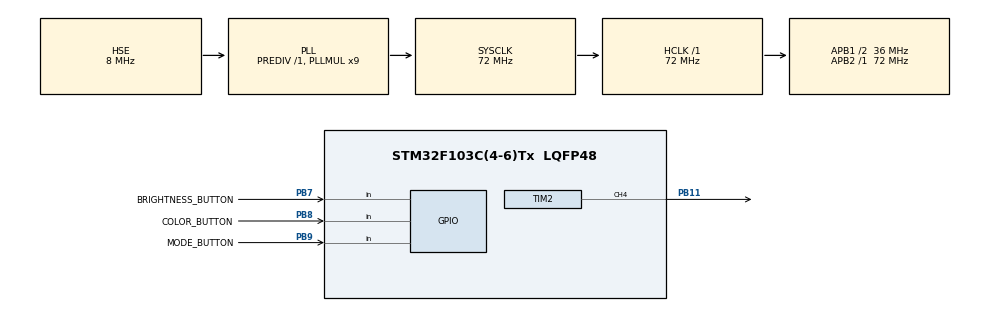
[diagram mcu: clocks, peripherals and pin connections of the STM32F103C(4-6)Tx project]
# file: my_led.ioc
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Dma.Request0=TIM2_CH2/CH4
Dma.TIM2_CH2/CH4.0.Direction=DMA_MEMORY_TO_PERIPH
Dma.TIM2_CH2/CH4.0.Instance=DMA1_Channel7
Dma.TIM2_CH2/CH4.0.MemDataAlignment=DMA_MDATAALIGN_WORD
Dma.TIM2_CH2/CH4.0.MemInc=DMA_MINC_ENABLE
Dma.TIM2_CH2/CH4.0.Mode=DMA_CIRCULAR
Dma.TIM2_CH2/CH4.0.PeriphDataAlignment=DMA_PDATAALIGN_WORD
Dma.TIM2_CH2/CH4.0.PeriphInc=DMA_PINC_DISABLE
Dma.TIM2_CH2/CH4.0.Priority=DMA_PRIORITY_HIGH
Mcu.Family=STM32F1
Mcu.Name=STM32F103C(4-6)Tx
Mcu.Package=LQFP48
NVIC.DMA1_Channel7_IRQn=true\:0\:0\:false\:false\:true\:false\:true\:true
NVIC.PriorityGroup=NVIC_PRIORITYGROUP_4
PA13.Mode=Trace_Asynchronous_SW
PA13.Signal=SYS_JTMS-SWDIO
PA14.Mode=Trace_Asynchronous_SW
PA14.Signal=SYS_JTCK-SWCLK
PB11.GPIO_ModeDefaultPP=GPIO_MODE_AF_OD
PB11.GPIO_Speed=GPIO_SPEED_FREQ_HIGH
PB11.Signal=S_TIM2_CH4
PB3.Mode=Trace_Asynchronous_SW
PB3.Signal=SYS_JTDO-TRACESWO
PB7.GPIO_Label=BRIGHTNESS_BUTTON
PB7.GPIO_PuPd=GPIO_PULLDOWN
PB7.Signal=GPIO_Input
PB8.GPIO_Label=COLOR_BUTTON
PB8.GPIO_PuPd=GPIO_PULLDOWN
PB8.Signal=GPIO_Input
PB9.GPIO_Label=MODE_BUTTON
PB9.GPIO_PuPd=GPIO_PULLDOWN
PB9.Signal=GPIO_Input
PD0-OSC_IN.Mode=HSE-External-Oscillator
PD0-OSC_IN.Signal=RCC_OSC_IN
PD1-OSC_OUT.Mode=HSE-External-Oscillator
PD1-OSC_OUT.Signal=RCC_OSC_OUT
ProjectManager.HeapSize=0x200
ProjectManager.StackSize=0x400
ProjectManager.TargetToolchain=STM32CubeIDE
RCC.AHBFreq_Value=72000000
RCC.APB1CLKDivider=RCC_HCLK_DIV2
RCC.APB1Freq_Value=36000000
RCC.APB1TimFreq_Value=72000000
RCC.APB2Freq_Value=72000000
RCC.APB2TimFreq_Value=72000000
RCC.HCLKFreq_Value=72000000
RCC.PLLMUL=RCC_PLL_MUL9
RCC.PLLSourceVirtual=RCC_PLLSOURCE_HSE
RCC.SYSCLKFreq_VALUE=72000000
RCC.SYSCLKSource=RCC_SYSCLKSOURCE_PLLCLK
RCC.USBFreq_Value=72000000
SH.S_TIM2_CH4.0=TIM2_CH4,PWM Generation4 CH4
TIM2.Channel-PWM\ Generation4\ CH4=TIM_CHANNEL_4
board=custom

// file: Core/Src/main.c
/* USER CODE BEGIN Header */
/**
  ******************************************************************************
  * @file           : main.c
  * @brief          : Main program body
  ******************************************************************************
  * @attention
  *
  * Copyright (c) 2025 STMicroelectronics.
  * All rights reserved.
  *
  * This software is licensed under terms that can be found in the LICENSE file
  * in the root directory of this software component.
  * If no LICENSE file comes with this software, it is provided AS-IS.
  *
  ******************************************************************************
  */
/* USER CODE END Header */
#include "main.h"

/* USER CODE BEGIN Includes */
#include "ARGB.h"
/* USER CODE END Includes */

TIM_HandleTypeDef htim2;
DMA_HandleTypeDef hdma_tim2_ch2_ch4;

void SystemClock_Config(void);
static void MX_GPIO_Init(void);
static void MX_DMA_Init(void);
static void MX_TIM2_Init(void);

int main(void)
{

  /* MCU Configuration--------------------------------------------------------*/

  /* Reset of all peripherals, Initializes the Flash interface and the Systick. */
  HAL_Init();

  /* Configure the system clock */
  SystemClock_Config();

  /* Initialize all configured peripherals */
  MX_GPIO_Init();
  MX_DMA_Init();
  MX_TIM2_Init();
  /* USER CODE BEGIN 2 */
  ARGB_Init();  // Initialization
  ARGB_Clear(); // Clear stirp
  while (!ARGB_Show());

  int button_curent_state = 0;
  int button_color_state =0;
  int button_brightness_state =0;

  ARGB_MODE current_MODE = STATIC;
  int color_R = 255;
  int color_G = 255;
  int color_B = 255;
  int brightness = 100;
  int brightness_direction = 1;
  int brightness_step =2;

  ARGB_SetBrightness(brightness);  // Set global brightness to 40%

  /* USER CODE END 2 */

  /* Infinite loop */
  while (1)
  {

    /* USER CODE BEGIN 3 */
	button_curent_state=HAL_GPIO_ReadPin(MODE_BUTTON_GPIO_Port, MODE_BUTTON_Pin);
	button_color_state=HAL_GPIO_ReadPin(COLOR_BUTTON_GPIO_Port, COLOR_BUTTON_Pin);
	button_brightness_state=HAL_GPIO_ReadPin(BRIGHTNESS_BUTTON_GPIO_Port, BRIGHTNESS_BUTTON_Pin);

	if (button_curent_state){
		if (current_MODE < ITERATION) {
		    current_MODE++;
		}
		else{
			current_MODE=0;
		}
		HAL_Delay(300);
	}else if (button_color_state){
		ARGB_Clear();
		while (!ARGB_Show());
		calculateRainbowColor(&color_R, &color_G, &color_B);
		ARGB_FillRGB(color_R, color_G, color_B);
		while (!ARGB_Show());
	}else if (button_brightness_state){
		ARGB_Clear();
		while (!ARGB_Show());
        brightness += brightness_step * brightness_direction;

        if (brightness >= 100) {
            brightness = 100;
            brightness_direction = -1;
        } else if (brightness <= 0) {
            brightness = 0;
            brightness_direction = 1;
        }
		ARGB_SetBrightness(brightness);
		ARGB_FillRGB(color_R, color_G, color_B);
		while (!ARGB_Show());
	}else{

		switch(current_MODE){
		case STATIC:
			ARGB_Clear();
			while (!ARGB_Show());
			ARGB_FillRGB(color_R, color_G, color_B);
			while (!ARGB_Show());
			break;
		case RAINBOW:
			ARGB_Clear();
			while (!ARGB_Show());
			calculateRainbowColor(&color_R, &color_G, &color_B);
			ARGB_FillRGB(color_R, color_G, color_B);
			while (!ARGB_Show());
			break;
		case SLOW_BLINK:
			ARGB_Clear();
			while (!ARGB_Show());
            brightness += brightness_step * brightness_direction;

            if (brightness >= 100) {
                brightness = 100;
                brightness_direction = -1;
            } else if (brightness <= 0) {
                brightness = 0;
                brightness_direction = 1;
            }
			ARGB_SetBrightness(brightness);
			ARGB_FillRGB(color_R, color_G, color_B);
			while (!ARGB_Show());
			break;
		case ITERATION:
			for (uint8_t i = 0; i < NUM_PIXELS; i++){
				button_curent_state=HAL_GPIO_ReadPin(MODE_BUTTON_GPIO_Port, MODE_BUTTON_Pin);
				button_color_state=HAL_GPIO_ReadPin(COLOR_BUTTON_GPIO_Port, COLOR_BUTTON_Pin);
				button_brightness_state=HAL_GPIO_ReadPin(BRIGHTNESS_BUTTON_GPIO_Port, BRIGHTNESS_BUTTON_Pin);
				if (button_curent_state || button_color_state || button_brightness_state){
					break;
				}
				ARGB_Clear();
			  	while (!ARGB_Show());
			  	ARGB_SetRGB(i,color_R, color_G, color_B);
			  	while (!ARGB_Show());
			  	HAL_Delay(100);
			}
			break;
		}
	}

	HAL_Delay(50);

  }
  /* USER CODE END 3 */
}

void SystemClock_Config(void)
{
  RCC_OscInitTypeDef RCC_OscInitStruct = {0};
  RCC_ClkInitTypeDef RCC_ClkInitStruct = {0};

  /** Initializes the RCC Oscillators according to the specified parameters
  * in the RCC_OscInitTypeDef structure.
  */
  RCC_OscInitStruct.OscillatorType = RCC_OSCILLATORTYPE_HSE;
  RCC_OscInitStruct.HSEState = RCC_HSE_ON;
  RCC_OscInitStruct.HSEPredivValue = RCC_HSE_PREDIV_DIV1;
  RCC_OscInitStruct.HSIState = RCC_HSI_ON;
  RCC_OscInitStruct.PLL.PLLState = RCC_PLL_ON;
  RCC_OscInitStruct.PLL.PLLSource = RCC_PLLSOURCE_HSE;
  RCC_OscInitStruct.PLL.PLLMUL = RCC_PLL_MUL9;
  if (HAL_RCC_OscConfig(&RCC_OscInitStruct) != HAL_OK)
  {
    Error_Handler();
  }

  /** Initializes the CPU, AHB and APB buses clocks
  */
  RCC_ClkInitStruct.ClockType = RCC_CLOCKTYPE_HCLK|RCC_CLOCKTYPE_SYSCLK
                              |RCC_CLOCKTYPE_PCLK1|RCC_CLOCKTYPE_PCLK2;
  RCC_ClkInitStruct.SYSCLKSource = RCC_SYSCLKSOURCE_PLLCLK;
  RCC_ClkInitStruct.AHBCLKDivider = RCC_SYSCLK_DIV1;
  RCC_ClkInitStruct.APB1CLKDivider = RCC_HCLK_DIV2;
  RCC_ClkInitStruct.APB2CLKDivider = RCC_HCLK_DIV1;

  if (HAL_RCC_ClockConfig(&RCC_ClkInitStruct, FLASH_LATENCY_2) != HAL_OK)
  {
    Error_Handler();
  }
}

static void MX_TIM2_Init(void)
{

  TIM_MasterConfigTypeDef sMasterConfig = {0};
  TIM_OC_InitTypeDef sConfigOC = {0};

  htim2.Instance = TIM2;
  htim2.Init.Prescaler = 0;
  htim2.Init.CounterMode = TIM_COUNTERMODE_UP;
  htim2.Init.Period = 65535;
  htim2.Init.ClockDivision = TIM_CLOCKDIVISION_DIV1;
  htim2.Init.AutoReloadPreload = TIM_AUTORELOAD_PRELOAD_DISABLE;
  if (HAL_TIM_PWM_Init(&htim2) != HAL_OK)
  {
    Error_Handler();
  }
  sMasterConfig.MasterOutputTrigger = TIM_TRGO_RESET;
  sMasterConfig.MasterSlaveMode = TIM_MASTERSLAVEMODE_DISABLE;
  if (HAL_TIMEx_MasterConfigSynchronization(&htim2, &sMasterConfig) != HAL_OK)
  {
    Error_Handler();
  }
  sConfigOC.OCMode = TIM_OCMODE_PWM1;
  sConfigOC.Pulse = 0;
  sConfigOC.OCPolarity = TIM_OCPOLARITY_HIGH;
  sConfigOC.OCFastMode = TIM_OCFAST_DISABLE;
  if (HAL_TIM_PWM_ConfigChannel(&htim2, &sConfigOC, TIM_CHANNEL_4) != HAL_OK)
  {
    Error_Handler();
  }
  HAL_TIM_MspPostInit(&htim2);

}

static void MX_DMA_Init(void)
{

  /* DMA controller clock enable */
  __HAL_RCC_DMA1_CLK_ENABLE();

  /* DMA interrupt init */
  /* DMA1_Channel7_IRQn interrupt configuration */
  HAL_NVIC_SetPriority(DMA1_Channel7_IRQn, 0, 0);
  HAL_NVIC_EnableIRQ(DMA1_Channel7_IRQn);

}

static void MX_GPIO_Init(void)
{
  GPIO_InitTypeDef GPIO_InitStruct = {0};

  /* GPIO Ports Clock Enable */
  __HAL_RCC_GPIOD_CLK_ENABLE();
  __HAL_RCC_GPIOB_CLK_ENABLE();
  __HAL_RCC_GPIOA_CLK_ENABLE();

  /*Configure GPIO pins : BRIGHTNESS_BUTTON_Pin COLOR_BUTTON_Pin MODE_BUTTON_Pin */
  GPIO_InitStruct.Pin = BRIGHTNESS_BUTTON_Pin|COLOR_BUTTON_Pin|MODE_BUTTON_Pin;
  GPIO_InitStruct.Mode = GPIO_MODE_INPUT;
  GPIO_InitStruct.Pull = GPIO_PULLDOWN;
  HAL_GPIO_Init(GPIOB, &GPIO_InitStruct);

}

/* USER CODE BEGIN 4 */
void calculateRainbowColor(int *color_R, int *color_G, int *color_B) {
    static int color_mode = 0;
    static int step = 5;

    switch (color_mode) {
    case 0: // Red to Yellow (Increase Green)
		*color_G += 5;
		if (*color_G >= 255) {
			*color_G = 255;
			color_mode = 1;
		}
		break;
	case 1: // Yellow to Green (Decrease Red)
		*color_R -= 5;
		if (*color_R <= 0) {
			*color_R = 0;
			color_mode = 2;
		}
		break;
	case 2: // Green to Cyan (Increase Blue)
		*color_B += 5;
		if (*color_B >= 255) {
			*color_B = 255;
			color_mode = 3;
		}
		break;
	case 3: // Cyan to Blue (Decrease Green)
		*color_G -= 5;
		if (*color_G <= 0) {
			*color_G = 0;
			color_mode = 4;
		}
		break;
	case 4: // Blue to Magenta (Increase Red)
		*color_R += 5;
		if (*color_R >= 255) {
			*color_R = 255;
			color_mode = 5;
		}
		break;
	case 5: // Magenta to Red (Decrease Blue)
		*color_B -= 5;
		if (*color_B <= 0) {
			*color_B = 0;
			color_mode = 0;
		}
		break;
    }
}

/* USER CODE END 4 */

void Error_Handler(void)
{
  __disable_irq();
  while (1)
  {
  }
}
